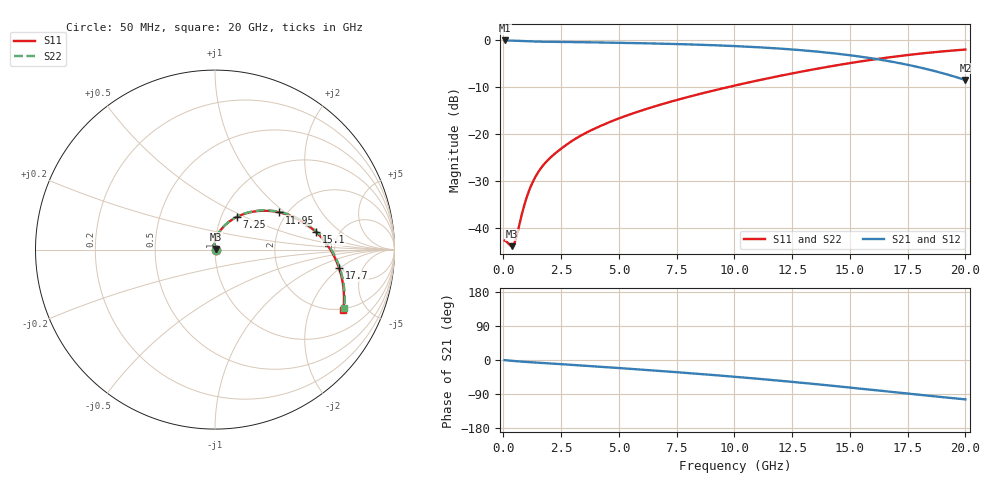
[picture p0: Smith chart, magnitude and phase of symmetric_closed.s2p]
#  Hz  S  RI  R  50
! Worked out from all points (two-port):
!   400 points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, 50 MHz to 20 GHz, reference 50 ohm
!   highest |S21| = -0.12 dB at 50 MHz (marker M1); lowest = -8.5 dB at 20 GHz (marker M2)
!   |S21| within 3 dB of the highest: start of sweep to 14.77 GHz
!   lowest |S11| = -43.9 dB at 350 MHz (marker M3), VSWR 1.01, Z = 50.5 + j0.379 ohm
!   |S11| at or under -10 dB: start of sweep to 9.762 GHz
!   |S22| runs from -43.9 to -2.0 dB; largest |S21 - S12| = 5.2e-05
!   S11 on the Smith chart (normalised r, x): 50 MHz: 1.01, +0.00; 7.25 GHz: 1.19, +0.46; 11.95 GHz: 1.82, +0.91; 15.1 GHz: 3.36, +0.98; 17.7 GHz: 4.83, -1.95; 20 GHz: 1.96, -3.46
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5e7  0.00735 0.00043  0.9858 -0.00534  0.9858 -0.00534  0.00734 0.00043
3.5e8  0.0052 0.00375  0.9813 -0.0362  0.9813 -0.0362  0.00518 0.00376
4.5e8  0.00396 0.0054  0.9786 -0.0456  0.9786 -0.0456  0.00394 0.00541
5e8  0.00329 0.00636  0.9771 -0.0501  0.9771 -0.0501  0.00326 0.00638
8.5e8  -0.00117 0.0157  0.9657 -0.0772  0.9657 -0.0772  -0.00122 0.0157
1.05e9  -0.00265 0.0226  0.9599 -0.09  0.9599 -0.09  -0.0027 0.0227
1.25e9  -0.00292 0.03  0.9553 -0.1018  0.9553 -0.1018  -0.00298 0.0301
1.5e9  -0.00174 0.039  0.9511 -0.1166  0.9511 -0.1166  -0.00181 0.0391
1.8e9  0.00104 0.0489  0.9468 -0.1354  0.9468 -0.1354  0.000955 0.049
2.2e9  0.00531 0.0607  0.9401 -0.1619  0.9401 -0.1619  0.00521 0.0608
3.4e9  0.022 0.095  0.9138 -0.2376  0.9138 -0.2376  0.0218 0.0953
4.9e9  0.0529 0.133  0.8713 -0.3307  0.8713 -0.3307  0.0525 0.1335
6.7e9  0.1043 0.1724  0.8022 -0.4365  0.8022 -0.4365  0.1037 0.1732
7.25e9  0.1234 0.1827  0.7768 -0.4671  0.7768 -0.4671  0.1227 0.1837
1.005e10  0.2476 0.2156  0.6126 -0.601  0.6126 -0.601  0.2467 0.2176
1.195e10  0.3579 0.2073  0.4685 -0.6588  0.4685 -0.6588  0.357 0.2103
1.335e10  0.4487 0.176  0.3492 -0.6745  0.3491 -0.6745  0.4481 0.1799
1.51e10  0.563 0.0978  0.1955 -0.6528  0.1954 -0.6528  0.5631 0.1029
1.67e10  0.6518 -0.0151  0.0668 -0.5892  0.0668 -0.5892  0.653 -0.00907
1.77e10  0.6913 -0.1034  0.000643 -0.5306  0.000634 -0.5305  0.6934 -0.097
1.885e10  0.7158 -0.2162  -0.0561 -0.4501  -0.0561 -0.45  0.719 -0.2095
2e10  0.7146 -0.334  -0.0896 -0.3632  -0.0896 -0.3632  0.7191 -0.3273
